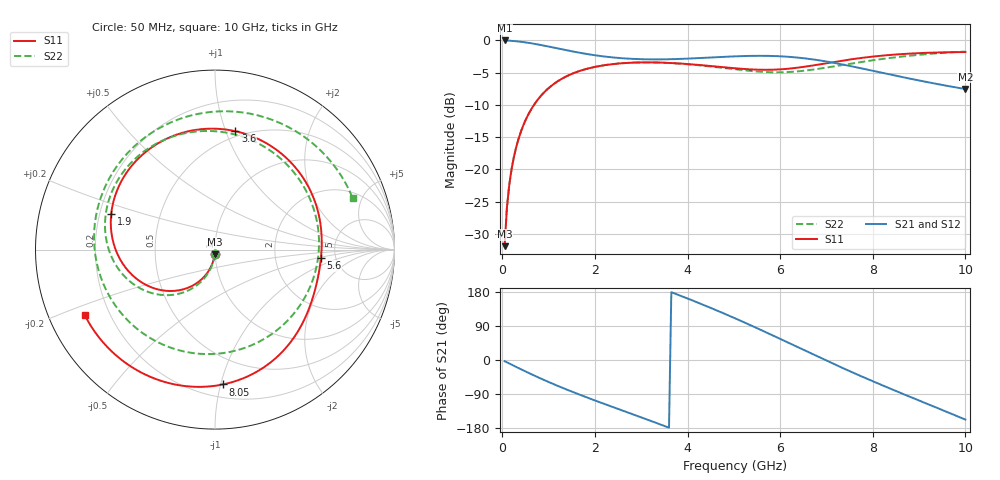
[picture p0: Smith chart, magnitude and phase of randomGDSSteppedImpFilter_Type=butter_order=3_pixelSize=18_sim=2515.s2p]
! freq	dB(S11)	phase(S11)	dB(S12)	phase(S12)
!  dB(S21)	phase(S21)	dB(S22)	phase(S22)
!S-par simulation data
#  GHz  S  DB  R 50
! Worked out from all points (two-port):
!   200 points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, 50 MHz to 10 GHz, reference 50 ohm
!   highest |S21| = -0.01 dB at 50 MHz (marker M1); lowest = -7.5 dB at 10 GHz (marker M2)
!   |S21| within 3 dB of the highest: start of sweep to 6.768 GHz
!   lowest |S11| = -31.9 dB at 50 MHz (marker M3), VSWR 1.05, Z = 49.8 - j2.52 ohm
!   |S11| at or under -10 dB: start of sweep to 685 MHz
!   |S22| runs from -31.9 to -1.7 dB; largest |S21 - S12| = 0
!   S11 on the Smith chart (normalised r, x): 50 MHz: 1.00, -0.05; 1.9 GHz: 0.25, +0.16; 3.6 GHz: 0.45, +1.08; 5.6 GHz: 3.82, -0.55; 8.05 GHz: 0.29, -1.02; 10 GHz: 0.11, -0.24
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0.05  -31.91 -93.3  -0.01 -3.1  -0.01 -3.1  -31.91 -93.0
0.1  -25.92 -96.7  -0.02 -6.2  -0.02 -6.2  -25.91 -96.1
0.2  -19.98 -103.4  -0.07 -12.3  -0.07 -12.3  -19.98 -102.0
0.5  -12.40 -122.3  -0.30 -30.1  -0.30 -30.1  -12.40 -119.0
1.1  -6.82 -157.5  -1.10 -63.3  -1.10 -63.3  -6.82 -150.3
1.75  -4.56 168.3  -2.01 -95.2  -2.01 -95.2  -4.55 180.0
1.9  -4.27 160.9  -2.19 -102.2  -2.19 -102.2  -4.27 173.6
2.7  -3.49 122.5  -2.82 -138.0  -2.82 -138.0  -3.49 140.4
3.4  -3.43 89.6  -2.94 -169.5  -2.94 -169.5  -3.45 110.7
3.6  -3.49 80.3  -2.92 -178.7  -2.92 -178.7  -3.51 101.8
4.35  -3.87 45.8  -2.70 145.1  -2.70 145.1  -3.93 64.7
5.05  -4.34 16.0  -2.46 108.8  -2.46 108.8  -4.51 22.9
5.6  -4.55 -4.5  -2.39 78.5  -2.39 78.5  -4.87 -16.5
6.2  -4.37 -24.5  -2.55 44.2  -2.55 44.2  -4.89 -64.9
6.7  -3.89 -40.7  -2.94 15.4  -2.94 15.4  -4.53 -106.7
7.4  -3.07 -64.3  -3.81 -23.9  -3.81 -23.9  -3.74 -162.7
8.05  -2.47 -86.7  -4.79 -58.6  -4.79 -58.6  -3.02 149.7
8.35  -2.27 -96.9  -5.25 -74.1  -5.25 -74.1  -2.74 128.8
8.75  -2.06 -110.5  -5.85 -94.4  -5.85 -94.4  -2.41 101.8
9.15  -1.93 -123.9  -6.43 -114.5  -6.43 -114.5  -2.13 75.4
9.55  -1.84 -137.5  -6.98 -134.5  -6.98 -134.5  -1.91 49.5
10  -1.81 -153.2  -7.54 -157.2  -7.54 -157.2  -1.73 20.4
